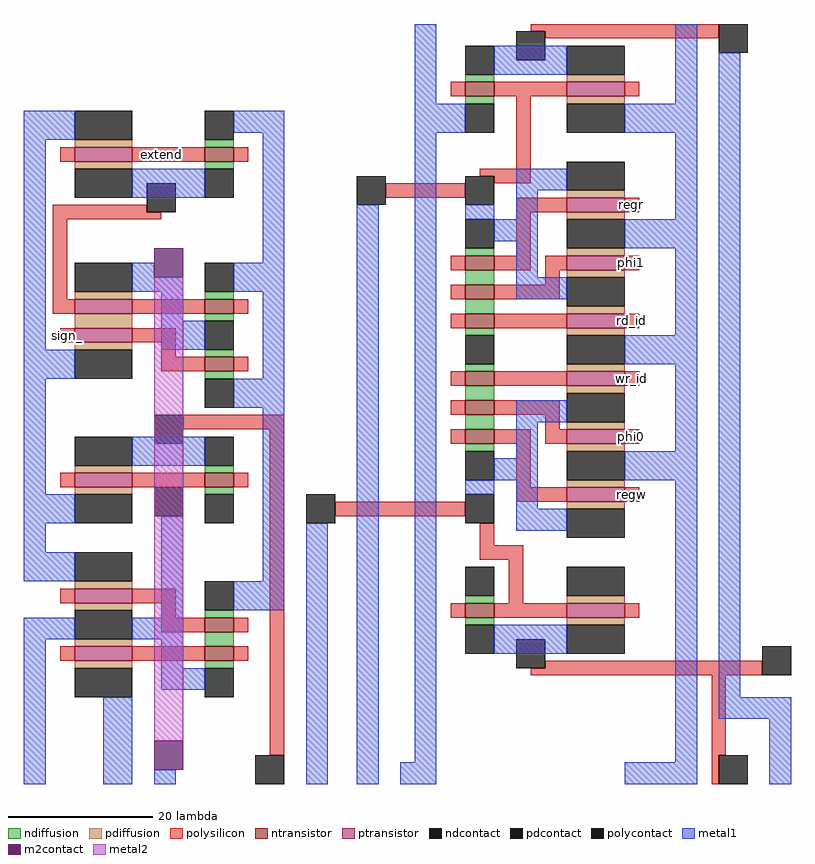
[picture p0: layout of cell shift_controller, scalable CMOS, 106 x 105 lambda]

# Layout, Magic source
magic
tech scmos
<< polysilicon >>
rect 23 172 25 174
rect 9 165 22 166
rect 88 165 90 167
rect 9 164 24 165
rect 9 153 11 164
rect 88 157 90 159
rect 9 151 12 153
rect 20 151 30 153
rect 34 151 36 153
rect 10 147 12 149
rect 20 147 26 149
rect 24 145 26 147
rect 88 149 90 151
rect 24 143 30 145
rect 34 143 36 145
rect 88 141 90 143
rect 27 135 41 137
rect 10 111 12 113
rect 20 111 26 113
rect 24 109 26 111
rect 24 107 30 109
rect 34 107 36 109
rect 10 103 12 105
rect 20 103 30 105
rect 34 103 36 105
rect 39 90 41 135
rect 88 133 90 135
rect 88 125 90 127
rect 100 90 102 101
rect 100 86 101 90
<< ndiffusion >>
rect 30 153 34 154
rect 30 150 34 151
rect 30 145 34 146
rect 30 142 34 143
rect 30 109 34 110
rect 30 105 34 107
rect 30 102 34 103
<< pdiffusion >>
rect 12 153 20 154
rect 12 149 20 151
rect 12 146 20 147
rect 12 113 20 114
rect 12 110 20 111
rect 12 105 20 106
rect 12 102 20 103
<< metal1 >>
rect 5 175 12 179
rect 34 176 41 179
rect 5 146 8 175
rect 20 156 23 158
rect 38 158 41 176
rect 20 154 27 156
rect 34 154 41 158
rect 24 150 27 154
rect 24 146 30 150
rect 5 142 12 146
rect 38 142 41 154
rect 5 126 8 142
rect 34 138 41 142
rect 5 122 12 126
rect 5 118 8 122
rect 5 114 12 118
rect 5 106 12 109
rect 24 109 27 123
rect 38 114 41 138
rect 34 110 41 114
rect 20 106 27 109
rect 5 86 8 106
rect 24 102 27 106
rect 24 99 30 102
rect 16 86 20 98
rect 23 86 26 88
rect 44 86 47 103
rect 51 86 54 102
rect 59 89 62 102
rect 95 89 98 102
rect 101 98 104 101
rect 101 95 111 98
rect 57 86 62 89
rect 88 86 98 89
rect 108 86 111 95
<< metal2 >>
rect 23 92 27 156
<< ntransistor >>
rect 30 151 34 153
rect 30 143 34 145
rect 30 107 34 109
rect 30 103 34 105
<< ptransistor >>
rect 12 151 20 153
rect 12 147 20 149
rect 12 111 20 113
rect 12 103 20 105
<< polycontact >>
rect 22 165 26 169
rect 23 133 27 137
rect 23 123 27 127
rect 37 86 41 90
rect 101 86 105 90
<< ndcontact >>
rect 30 154 34 158
rect 30 146 34 150
rect 30 138 34 142
rect 30 110 34 114
rect 30 98 34 102
<< pdcontact >>
rect 12 154 20 158
rect 12 142 20 146
rect 12 114 20 118
rect 12 106 20 110
rect 12 98 20 102
<< m2contact >>
rect 23 156 27 160
rect 23 88 27 92
use inverter  inverter_1
transform 0 -1 41 -1 0 174
box -5 5 7 31
use inverter  inverter_0
transform 0 -1 41 1 0 127
box -5 5 7 31
use register_controller  register_controller_0
transform 1 0 66 0 1 144
box -22 -43 45 47
<< labels >>
rlabel polysilicon 88 125 90 127 1 regw
rlabel polysilicon 88 133 90 135 1 phi0
rlabel polysilicon 88 141 90 143 1 wr_id
rlabel polysilicon 88 149 90 151 1 rd_id
rlabel polysilicon 88 157 90 159 1 phi1
rlabel polysilicon 88 165 90 167 1 regr
rlabel polysilicon 10 147 12 149 1 sign_
rlabel polysilicon 23 172 25 174 1 extend
<< end >>

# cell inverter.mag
magic
tech scmos
<< polysilicon >>
rect 0 29 2 31
rect 0 11 2 21
rect 0 5 2 7
<< ndiffusion >>
rect -1 7 0 11
rect 2 7 3 11
<< pdiffusion >>
rect -1 21 0 29
rect 2 21 3 29
<< metal1 >>
rect 3 11 7 21
<< ntransistor >>
rect 0 7 2 11
<< ptransistor >>
rect 0 21 2 29
<< ndcontact >>
rect -5 7 -1 11
rect 3 7 7 11
<< pdcontact >>
rect -5 21 -1 29
rect 3 21 7 29
<< labels >>
rlabel metal1 5 16 5 16 7 out
<< end >>

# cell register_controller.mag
magic
tech scmos
<< polysilicon >>
rect 9 46 35 47
rect 11 45 35 46
rect 7 27 9 39
rect 2 26 9 27
rect -11 23 0 25
rect 4 25 9 26
rect 7 21 14 23
rect 22 21 24 23
rect 7 15 9 21
rect -2 13 0 15
rect 4 13 9 15
rect 11 13 14 15
rect 22 13 24 15
rect 11 11 13 13
rect -2 9 0 11
rect 4 9 13 11
rect -2 5 0 7
rect 4 5 14 7
rect 22 5 24 7
rect -2 -3 0 -1
rect 4 -3 14 -1
rect 22 -3 24 -1
rect -2 -7 0 -5
rect 4 -7 13 -5
rect 11 -9 13 -7
rect -2 -11 0 -9
rect 4 -11 9 -9
rect 11 -11 14 -9
rect 22 -11 24 -9
rect 7 -17 9 -11
rect -18 -21 0 -19
rect 7 -19 14 -17
rect 22 -19 24 -17
rect 2 -25 4 -22
rect 2 -27 8 -25
rect 6 -35 8 -27
rect 11 -42 41 -41
rect 9 -43 41 -42
<< ndiffusion >>
rect 0 15 4 16
rect 0 11 4 13
rect 0 7 4 9
rect 0 4 4 5
rect 0 -1 4 0
rect 0 -5 4 -3
rect 0 -9 4 -7
rect 0 -12 4 -11
<< pdiffusion >>
rect 14 23 22 24
rect 14 20 22 21
rect 14 15 22 16
rect 14 12 22 13
rect 14 7 22 8
rect 14 4 22 5
rect 14 -1 22 0
rect 14 -4 22 -3
rect 14 -9 22 -8
rect 14 -12 22 -11
rect 14 -17 22 -16
rect 14 -20 22 -19
<< metal1 >>
rect -7 36 -4 47
rect 29 36 32 47
rect -7 32 0 36
rect 22 32 32 36
rect -22 -43 -19 -22
rect -15 -43 -12 22
rect -7 -43 -4 32
rect 0 20 4 22
rect 7 24 14 27
rect 7 20 10 24
rect 29 20 32 32
rect 4 17 10 20
rect 7 12 10 17
rect 22 16 32 20
rect 7 9 14 12
rect 29 4 32 16
rect 22 0 32 4
rect 7 -8 14 -5
rect 7 -13 10 -8
rect 29 -12 32 0
rect 4 -16 10 -13
rect 22 -16 32 -12
rect 0 -18 4 -16
rect 7 -20 10 -16
rect 7 -23 14 -20
rect 29 -43 32 -16
rect 35 -43 38 43
<< ntransistor >>
rect 0 13 4 15
rect 0 9 4 11
rect 0 5 4 7
rect 0 -3 4 -1
rect 0 -7 4 -5
rect 0 -11 4 -9
<< ptransistor >>
rect 14 21 22 23
rect 14 13 22 15
rect 14 5 22 7
rect 14 -3 22 -1
rect 14 -11 22 -9
rect 14 -19 22 -17
<< polycontact >>
rect 7 42 11 46
rect 35 43 39 47
rect -15 22 -11 26
rect 0 22 4 26
rect -22 -22 -18 -18
rect 0 -22 4 -18
rect 7 -42 11 -38
rect 41 -43 45 -39
<< ndcontact >>
rect 0 16 4 20
rect 0 0 4 4
rect 0 -16 4 -12
<< pdcontact >>
rect 14 24 22 28
rect 14 16 22 20
rect 14 8 22 12
rect 14 0 22 4
rect 14 -8 22 -4
rect 14 -16 22 -12
rect 14 -24 22 -20
use inverter  inverter_0
transform 0 1 -7 1 0 37
box -5 5 7 31
use inverter  inverter_1
transform 0 1 -7 -1 0 -33
box -5 5 7 31
<< labels >>
rlabel metal1 -22 -24 -19 -22 3 w
rlabel metal1 35 -24 38 -22 1 r_
rlabel metal1 -7 -24 -4 -22 1 GND
rlabel metal1 29 -24 32 -22 1 Vdd
rlabel metal1 -15 -24 -12 -22 1 r
rlabel polycontact 42 -43 45 -40 8 w_
rlabel polysilicon 23 -18 23 -18 1 regw
rlabel polysilicon 23 -10 23 -10 1 phi0
rlabel polysilicon 23 -2 23 -2 1 wr_id
rlabel polysilicon 23 6 23 6 1 rd_id
rlabel polysilicon 23 14 23 14 1 phi1
rlabel polysilicon 23 22 23 22 1 regr
<< end >>
